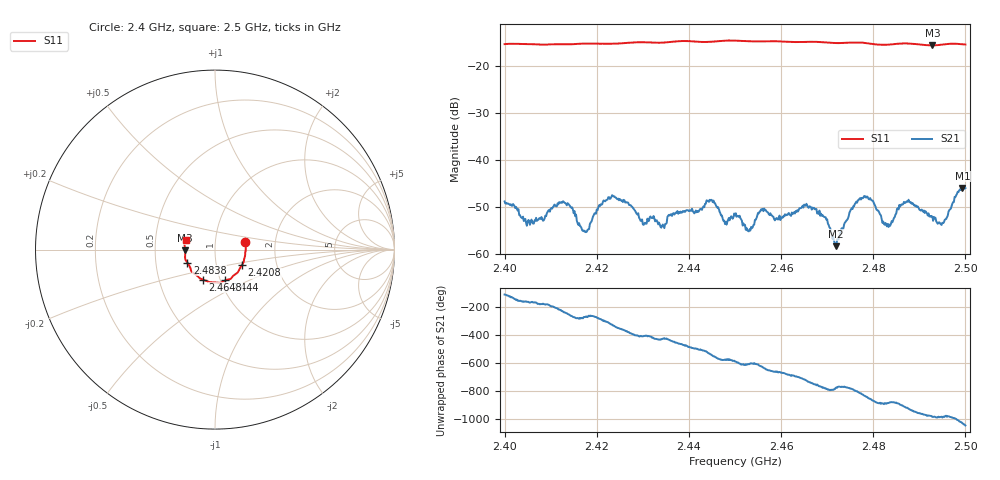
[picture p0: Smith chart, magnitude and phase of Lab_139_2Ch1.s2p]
# Hz S RI R 50
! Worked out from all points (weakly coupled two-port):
!   601 points, 2.4 GHz to 2.5 GHz, reference 50 ohm
!   highest |S21| = -45.89 dB at 2.4993 GHz (marker M1); lowest = -58.3 dB at 2.4718 GHz (marker M2)
!   lowest |S11| = -15.6 dB at 2.4928 GHz (marker M3), VSWR 1.40, Z = 35.7 - j0.325 ohm
!   |S11| at or under -10 dB: start of sweep to end of sweep
!   S12 and S22 are empty: the file has one direction only
!   S11 on the Smith chart (normalised r, x): 2.4 GHz: 1.39, +0.12; 2.4208 GHz: 1.33, -0.24; 2.444 GHz: 1.05, -0.37; 2.4648 GHz: 0.83, -0.29; 2.4838 GHz: 0.73, -0.11; 2.5 GHz: 0.72, +0.08
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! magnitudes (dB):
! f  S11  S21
! 2.4 GHz  -15.3  -48.8
! 2.4052 GHz  -15.3  -52.7
! 2.4132 GHz  -15.3  -49.1
! 2.4167 GHz  -15.2  -54.4
! 2.4208 GHz  -15.2  -49.4
! 2.4237 GHz  -15.2  -47.7
! 2.4333 GHz  -15.0  -53.6
! 2.444 GHz  -14.9  -48.6
! 2.45 GHz  -14.6  -51.7
! 2.4528 GHz  -14.7  -55.1
! 2.4558 GHz  -14.7  -50.5
! 2.4648 GHz  -14.9  -50.1
! 2.4667 GHz  -14.8  -50.5
! 2.4718 GHz  -15.1  -58.3
! 2.4777 GHz  -15.0  -48.1
! 2.4833 GHz  -15.4  -54.2
! 2.4838 GHz  -15.4  -53.6
! 2.4872 GHz  -15.2  -48.8
! 2.4928 GHz  -15.6  -52.1
! 2.4952 GHz  -15.4  -53.4
! 2.4993 GHz  -15.4  -45.9
! 2.5 GHz  -15.4  -45.9
